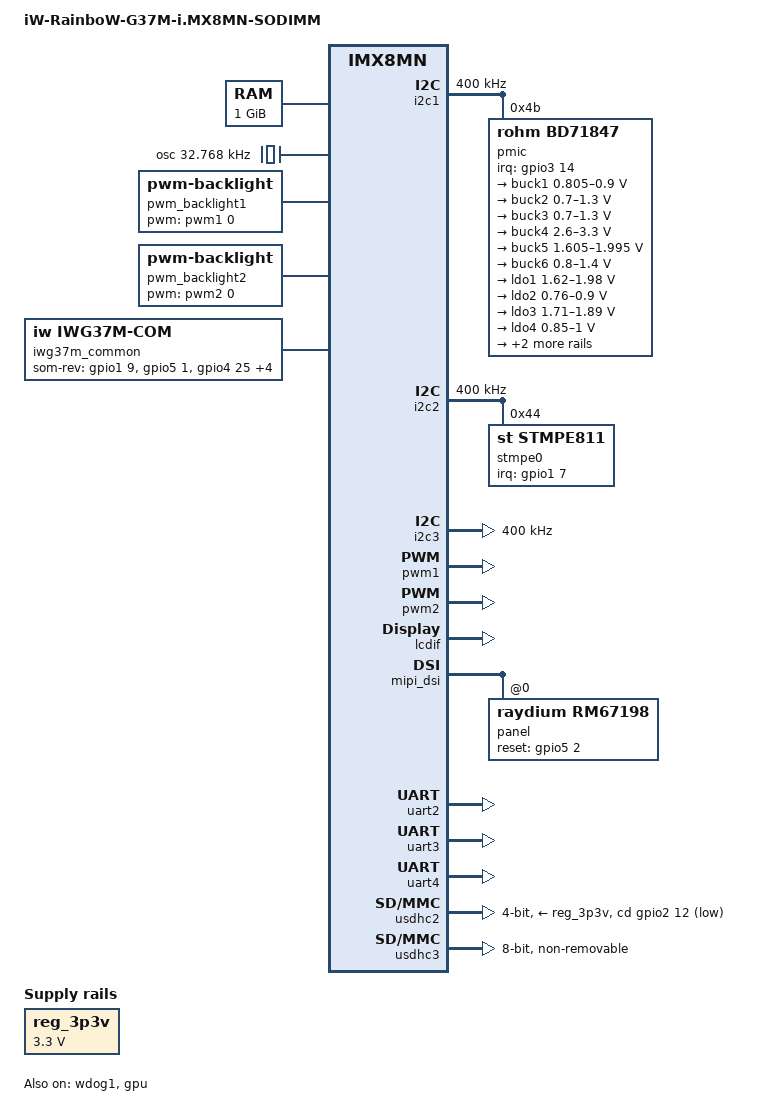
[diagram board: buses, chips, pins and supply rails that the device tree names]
/*
 * Copyright (C) 2020 iWave System Technologies Pvt Ltd.
 *
 * This program is free software; you can redistribute it and/or
 * modify it under the terms of the GNU General Public License
 * as published by the Free Software Foundation; either version 2
 * of the License, or (at your option) any later version.
 *
 * This program is distributed in the hope that it will be useful,
 * but WITHOUT ANY WARRANTY; without even the implied warranty of
 * MERCHANTABILITY or FITNESS FOR A PARTICULAR PURPOSE.  See the
 * GNU General Public License for more details.
 */

/dts-v1/;

#include "fsl-imx8mn.dtsi"

/ {
	model = "iW-RainboW-G37M-i.MX8MN-SODIMM";
	compatible = "fsl,imx8mn-iwg37m", "fsl,imx8mn";

	aliases { /* SD/MMC: eMMC/SD slot numbering fix */
                mmc0 = &usdhc3;
                mmc1 = &usdhc2;
        };

	chosen {
		bootargs = "console=ttymxc3,115200 earlycon=ec_imx6q,0x30a60000,115200";
		stdout-path = &uart4;
	};

	memory@40000000 { /* RAM: 1GB Memory support */
		device_type = "memory";
		reg = <0x0 0x40000000 0 0x40000000>;
	};

	reserved-memory { /* RAM: 1GB Memory support */
		#address-cells = <2>;
		#size-cells = <2>;
		ranges;

		/* global autoconfigured region for contiguous allocations */
		linux,cma {
			compatible = "shared-dma-pool";
			reusable;
			size = <0 0x14000000>;
			alloc-ranges = <0 0x40000000 0 0x30000000>;
			linux,cma-default;
		};

		rpmsg_reserved: rpmsg@0xb8000000 {
			no-map;
			reg = <0 0x78000000 0 0x400000>;
		};
	};

	/* external oscillator node */
	osc: oscillator {
		compatible = "fixed-clock";
		#clock-cells = <1>;
		clock-frequency  = <32768>;
		clock-output-names = "osc";
	};

	regulators {
		compatible = "simple-bus";
		#address-cells = <1>;
		#size-cells = <0>;

		reg_3p3v: 3p3v { /* Fixed Regulator: common 3.3V Fixed regulator */
			compatible = "regulator-fixed";
			regulator-name = "3P3V";
			regulator-min-microvolt = <3300000>;
			regulator-max-microvolt = <3300000>;
			regulator-always-on;
		};
	};

	pwm_backlight1: pwm-backlight1 { /* PWM: PWM1 backlight Control */
		compatible = "pwm-backlight";
		pinctrl-names = "default";
		pinctrl-0 = <&pinctrl_pwm1>;
		pwms = <&pwm1 0 100000 0>;

		brightness-levels = < 0 1 2 3 4 5 6 7 8 9
				10 11 12 13 14 15 16 17 18 19
				20 21 22 23 24 25 26 27 28 29
				30 31 32 33 34 35 36 37 38 39
				40 41 42 43 44 45 46 47 48 49
				50 51 52 53 54 55 56 57 58 59
				60 61 62 63 64 65 66 67 68 69
				70 71 72 73 74 75 76 77 78 79
				80 81 82 83 84 85 86 87 88 89
				90 91 92 93 94 95 96 97 98 99
				100>;
		default-brightness-level = <100>;
		status = "okay";
	};

	pwm_backlight2: pwm-backlight2 { /* PWM: PWM2 backlight Control */
		compatible = "pwm-backlight";
		pinctrl-names = "default";
		pinctrl-0 = <&pinctrl_pwm2>;
		pwms = <&pwm2 0 100000 0>;

		brightness-levels = < 0 1 2 3 4 5 6 7 8 9
				10 11 12 13 14 15 16 17 18 19
				20 21 22 23 24 25 26 27 28 29
				30 31 32 33 34 35 36 37 38 39
				40 41 42 43 44 45 46 47 48 49
				50 51 52 53 54 55 56 57 58 59
				60 61 62 63 64 65 66 67 68 69
				70 71 72 73 74 75 76 77 78 79
				80 81 82 83 84 85 86 87 88 89
				90 91 92 93 94 95 96 97 98 99
				100>;
		default-brightness-level = <100>;
		status = "okay";
	};

	iwg37m_common { /* SoC Board Setttings : Board Configuration GPIOs */
		compatible = "iw,iwg37m-com";
		pinctrl-names = "default";
		pinctrl-0 = <&pinctrl_board_cfg>;
		som-rev-gpios = <&gpio1 9 0 &gpio5 1 0 &gpio4 25 0 &gpio4 26 0
				&gpio4 27 0 &gpio2 19 0 &gpio2 20 0 >;
		status = "okay";
	};
};

&iomuxc {

	imx8mn-iwg37m {
		pinctrl_hog: hoggrp { /* iWave hog Pin Configuration */
			fsl,pins = <
				/* GPIO: Expansion Header GPIO IOMUX Pin Configuration */
				MX8MN_IOMUXC_GPIO1_IO06_GPIO1_IO6		0x41
				/* GPIO: GPIO Header GPIO IOMUX Pin Configuration */
				MX8MN_IOMUXC_SAI5_RXFS_GPIO3_IO19		0x41
				MX8MN_IOMUXC_SAI5_RXC_GPIO3_IO20		0x41
			>;
		};

		pinctrl_mipi_dsi_en: mipi_dsi_en { /* MIPI DSI: LCD IOMUX Pin Configuration */
			fsl,pins = <
				MX8MN_IOMUXC_SAI3_MCLK_GPIO5_IO2		0x16 /* MIPI LCD Reset GPIO */
			>;
		};

		pinctrl_pwm1: pwm1grp { /* PWM: PWM1 IOMUX Pin Configuration */
			fsl,pins = <
				MX8MN_IOMUXC_I2C4_SDA_PWM1_OUT			0x400001c3
			>;
		};

		pinctrl_pwm2: pwm2grp { /* PWM: PWM2 IOMUX Pin Configuration */
			fsl,pins = <
				MX8MN_IOMUXC_I2C4_SCL_PWM2_OUT			0x400001c3
			>;
		};

		pinctrl_flexspi0: flexspi0grp { /* QSPI : IOMUX Pin Configuration */
			fsl,pins = <
				MX8MN_IOMUXC_NAND_ALE_QSPI_A_SCLK 		0x1c4
				MX8MN_IOMUXC_NAND_CE0_B_QSPI_A_SS0_B 		0x84

				MX8MN_IOMUXC_NAND_DATA00_QSPI_A_DATA0 		0x84
				MX8MN_IOMUXC_NAND_DATA01_QSPI_A_DATA1 		0x84
				MX8MN_IOMUXC_NAND_DATA02_QSPI_A_DATA2 		0x84
			>;
		};

		pinctrl_ecspi1: ecspi1grp { /* ECSPI : ECSPI1 IOMUX Pin Configuration */
			fsl,pins = <
				MX8MN_IOMUXC_ECSPI1_SCLK_ECSPI1_SCLK		0x82
				MX8MN_IOMUXC_ECSPI1_MOSI_ECSPI1_MOSI		0x82
				MX8MN_IOMUXC_ECSPI1_MISO_ECSPI1_MISO		0x82
			>;
		};

		pinctrl_ecspi1_cs: ecspi1cs { /* ECSPI : ECSPI1 SS IOMUX Pin Configuration */
			fsl,pins = <
				MX8MN_IOMUXC_ECSPI1_SS0_GPIO5_IO9		0x40000
			>;
		};

		pinctrl_ecspi2: ecspi2grp { /* ECSPI : ECSPI2 IOMUX Pin Configuration */
			fsl,pins = <
				MX8MN_IOMUXC_ECSPI2_SCLK_ECSPI2_SCLK		0x82
				MX8MN_IOMUXC_ECSPI2_MOSI_ECSPI2_MOSI		0x82
				MX8MN_IOMUXC_ECSPI2_MISO_ECSPI2_MISO		0x82
			>;
		};

		pinctrl_ecspi2_cs: ecspi2cs { /* ECSPI : ECSPI2 SS IOMUX Pin Configuration */
			fsl,pins = <
				MX8MN_IOMUXC_ECSPI2_SS0_GPIO5_IO13		0x40000
			>;
		};

		pinctrl_ecspi3: ecspi3grp { /* ECSPI : ECSPI3 IOMUX Pin Configuration */
			fsl,pins = <
				MX8MN_IOMUXC_UART1_RXD_ECSPI3_SCLK		0x82
				MX8MN_IOMUXC_UART1_TXD_ECSPI3_MOSI		0x82
				MX8MN_IOMUXC_UART2_RXD_ECSPI3_MISO		0x82
			>;
		};

		pinctrl_ecspi3_cs: ecspi3cs { /* ECSPI : ECSPI2 SS IOMUX Pin Configuration */
			fsl,pins = <
				MX8MN_IOMUXC_UART2_TXD_GPIO5_IO25		0x40000
			>;
		};

		pinctrl_i2c1: i2c1grp { /* I2C1: IOMUX Pin Configuration */
			fsl,pins = <
				MX8MN_IOMUXC_I2C1_SCL_I2C1_SCL			0x400001c3
				MX8MN_IOMUXC_I2C1_SDA_I2C1_SDA			0x400001c3
			>;
		};

		pinctrl_i2c2: i2c2grp { /* I2C2: IOMUX Pin Configuration */
			fsl,pins = <
				MX8MN_IOMUXC_I2C2_SCL_I2C2_SCL			0x400001c3
				MX8MN_IOMUXC_I2C2_SDA_I2C2_SDA			0x400001c3
			>;
		};

		pinctrl_i2c3: i2c3grp { /* I2C3: IOMUX Pin Configuration */
			fsl,pins = <
				MX8MN_IOMUXC_I2C3_SCL_I2C3_SCL			0x400001c3
				MX8MN_IOMUXC_I2C3_SDA_I2C3_SDA			0x400001c3
			>;
		};

		pinctrl_stmpe: stmpeirq { /* STMPE: IOMUX Pin Configuration */
                        fsl,pins = <
				MX8MN_IOMUXC_GPIO1_IO07_GPIO1_IO7		0x41
                        >;
                };

		pinctrl_pmic: pmicirq { /* PMIC: IOMUX Pin Configuration */
			fsl,pins = <
				MX8MN_IOMUXC_NAND_DQS_GPIO3_IO14		0x41 /* PMIC Interrupt GPIO */
			>;
		};

		pinctrl_uart2: uart2grp { /* UART2: DATA UART: IOMUX Pin Configuration */
			fsl,pins = <
				MX8MN_IOMUXC_SAI3_TXC_UART2_DCE_TX		0x140
				MX8MN_IOMUXC_SAI3_TXFS_UART2_DCE_RX		0x140
				MX8MN_IOMUXC_SAI3_RXC_UART2_DCE_CTS_B		0x140
				MX8MN_IOMUXC_SAI3_RXD_UART2_DCE_RTS_B		0x140
			>;
		};

		pinctrl_uart3: uart3grp { /* UART3: M4 UART: IOMUX Pin Configuration */
			fsl,pins = <
				MX8MN_IOMUXC_UART3_TXD_UART3_DCE_TX		0x140
				MX8MN_IOMUXC_UART3_RXD_UART3_DCE_RX		0x140
			>;
		};

		pinctrl_uart4: uart4grp { /* UART4: Debug UART: IOMUX Pin Configuration */
			fsl,pins = <
				MX8MN_IOMUXC_UART4_RXD_UART4_DCE_RX		0x140
				MX8MN_IOMUXC_UART4_TXD_UART4_DCE_TX		0x140
			>;
		};

		pinctrl_usdhc2_gpio: usdhc2grpgpio { /* USDHC2: Carrier Micro SD: Card Detect GPIO IOMUX Pin Configuration */
			fsl,pins = <
				MX8MN_IOMUXC_SD2_CD_B_GPIO2_IO12        	0x41 /* SD2 Card Detect GPIO */
			>;
		};

		pinctrl_usdhc2: usdhc2grp { /* USDHC2: Carrier Micro SD: IOMUX Pin Configuration */
			fsl,pins = <
				MX8MN_IOMUXC_SD2_CLK_USDHC2_CLK			0x190
				MX8MN_IOMUXC_SD2_CMD_USDHC2_CMD			0x1d0
				MX8MN_IOMUXC_SD2_DATA0_USDHC2_DATA0		0x1d0
				MX8MN_IOMUXC_SD2_DATA1_USDHC2_DATA1		0x1d0
				MX8MN_IOMUXC_SD2_DATA2_USDHC2_DATA2		0x1d0
				MX8MN_IOMUXC_SD2_DATA3_USDHC2_DATA3		0x1d0
				MX8MN_IOMUXC_GPIO1_IO04_USDHC2_VSELECT		0x1d0
			>;
		};

		pinctrl_usdhc2_100mhz: usdhc2grp100mhz {
			fsl,pins = <
				MX8MN_IOMUXC_SD2_CLK_USDHC2_CLK			0x194
				MX8MN_IOMUXC_SD2_CMD_USDHC2_CMD			0x1d4
				MX8MN_IOMUXC_SD2_DATA0_USDHC2_DATA0		0x1d4
				MX8MN_IOMUXC_SD2_DATA1_USDHC2_DATA1		0x1d4
				MX8MN_IOMUXC_SD2_DATA2_USDHC2_DATA2		0x1d4
				MX8MN_IOMUXC_SD2_DATA3_USDHC2_DATA3		0x1d4
				MX8MN_IOMUXC_GPIO1_IO04_USDHC2_VSELECT		0x1d0
			>;
		};

		pinctrl_usdhc2_200mhz: usdhc2grp200mhz {
			fsl,pins = <
				MX8MN_IOMUXC_SD2_CLK_USDHC2_CLK			0x196
				MX8MN_IOMUXC_SD2_CMD_USDHC2_CMD			0x1d6
				MX8MN_IOMUXC_SD2_DATA0_USDHC2_DATA0		0x1d6
				MX8MN_IOMUXC_SD2_DATA1_USDHC2_DATA1		0x1d6
				MX8MN_IOMUXC_SD2_DATA2_USDHC2_DATA2		0x1d6
				MX8MN_IOMUXC_SD2_DATA3_USDHC2_DATA3		0x1d6
				MX8MN_IOMUXC_GPIO1_IO04_USDHC2_VSELECT		0x1d0
			>;
		};

		pinctrl_usdhc3: usdhc3grp { /* USDHC3: EMMC: IOMUX Pin Configuration*/
			fsl,pins = <
				MX8MN_IOMUXC_NAND_WE_B_USDHC3_CLK		0x190
				MX8MN_IOMUXC_NAND_WP_B_USDHC3_CMD		0x1d0
				MX8MN_IOMUXC_NAND_DATA04_USDHC3_DATA0		0x1d0
				MX8MN_IOMUXC_NAND_DATA05_USDHC3_DATA1		0x1d0
				MX8MN_IOMUXC_NAND_DATA06_USDHC3_DATA2		0x1d0
				MX8MN_IOMUXC_NAND_DATA07_USDHC3_DATA3		0x1d0
				MX8MN_IOMUXC_NAND_RE_B_USDHC3_DATA4		0x1d0
				MX8MN_IOMUXC_NAND_CE2_B_USDHC3_DATA5		0x1d0
				MX8MN_IOMUXC_NAND_CE3_B_USDHC3_DATA6		0x1d0
				MX8MN_IOMUXC_NAND_CLE_USDHC3_DATA7		0x1d0
				MX8MN_IOMUXC_NAND_CE1_B_USDHC3_STROBE 		0x190
			>;
		};

		pinctrl_usdhc3_100mhz: usdhc3grp100mhz {
			fsl,pins = <
				MX8MN_IOMUXC_NAND_WE_B_USDHC3_CLK		0x194
				MX8MN_IOMUXC_NAND_WP_B_USDHC3_CMD		0x1d4
				MX8MN_IOMUXC_NAND_DATA04_USDHC3_DATA0		0x1d4
				MX8MN_IOMUXC_NAND_DATA05_USDHC3_DATA1		0x1d4
				MX8MN_IOMUXC_NAND_DATA06_USDHC3_DATA2		0x1d4
				MX8MN_IOMUXC_NAND_DATA07_USDHC3_DATA3		0x1d4
				MX8MN_IOMUXC_NAND_RE_B_USDHC3_DATA4		0x1d4
				MX8MN_IOMUXC_NAND_CE2_B_USDHC3_DATA5		0x1d4
				MX8MN_IOMUXC_NAND_CE3_B_USDHC3_DATA6		0x1d4
				MX8MN_IOMUXC_NAND_CLE_USDHC3_DATA7		0x1d4
				MX8MN_IOMUXC_NAND_CE1_B_USDHC3_STROBE 		0x194
			>;
		};

		pinctrl_usdhc3_200mhz: usdhc3grp200mhz {
			fsl,pins = <
				MX8MN_IOMUXC_NAND_WE_B_USDHC3_CLK		0x196
				MX8MN_IOMUXC_NAND_WP_B_USDHC3_CMD		0x1d6
				MX8MN_IOMUXC_NAND_DATA04_USDHC3_DATA0		0x1d6
				MX8MN_IOMUXC_NAND_DATA05_USDHC3_DATA1		0x1d6
				MX8MN_IOMUXC_NAND_DATA06_USDHC3_DATA2		0x1d6
				MX8MN_IOMUXC_NAND_DATA07_USDHC3_DATA3		0x1d6
				MX8MN_IOMUXC_NAND_RE_B_USDHC3_DATA4		0x1d6
				MX8MN_IOMUXC_NAND_CE2_B_USDHC3_DATA5		0x1d6
				MX8MN_IOMUXC_NAND_CE3_B_USDHC3_DATA6		0x1d6
				MX8MN_IOMUXC_NAND_CLE_USDHC3_DATA7		0x1d6
				MX8MN_IOMUXC_NAND_CE1_B_USDHC3_STROBE 		0x196
			>;
		};

		pinctrl_board_cfg: brd_cfg { /* SoC Board Settings: IOMUX Pin Configuration */
			fsl,pins = <
				MX8MN_IOMUXC_GPIO1_IO09_GPIO1_IO9		0x1d0
				MX8MN_IOMUXC_SAI3_TXD_GPIO5_IO1			0x1d5
				MX8MN_IOMUXC_SAI2_TXC_GPIO4_IO25		0x1d5
				MX8MN_IOMUXC_SAI2_TXD0_GPIO4_IO26		0x1d5
				MX8MN_IOMUXC_SAI2_MCLK_GPIO4_IO27		0x1d5
				MX8MN_IOMUXC_SD2_RESET_B_GPIO2_IO19		0x1d5
				MX8MN_IOMUXC_SD2_WP_GPIO2_IO20			0x1d5
			>;
		};

		pinctrl_wdog: wdoggrp { /* WATCHDOG: IOMUX Pin Configuration */
			fsl,pins = <
				MX8MN_IOMUXC_GPIO1_IO02_WDOG1_WDOG_B		0xc6
			>;
		};
	};
};

&flexspi { /* QSPI: SPI */
	pinctrl-names = "default";
	pinctrl-0 = <&pinctrl_flexspi0>;
	status = "disabled";

	flash0: mt25qu256aba@0 {
		reg = <0>;
		#address-cells = <1>;
		#size-cells = <1>;
		compatible = "micron,mt25qu256aba";
		spi-max-frequency = <80000000>;
		spi-nor,ddr-quad-read-dummy = <6>;
	};
};

&ecspi1 { /* QSPI: ECSPI1 */
	#address-cells = <1>;
	#size-cells = <0>;
	fsl,spi-num-chipselects = <1>;
	pinctrl-names = "default";
	pinctrl-0 = <&pinctrl_ecspi1 &pinctrl_ecspi1_cs>;
	cs-gpios = <&gpio5 9 GPIO_ACTIVE_LOW>;
	status = "disabled";
};

&ecspi2 { /* QSPI: ECSPI2 */
	#address-cells = <1>;
	#size-cells = <0>;
	fsl,spi-num-chipselects = <1>;
	pinctrl-names = "default";
	pinctrl-0 = <&pinctrl_ecspi2 &pinctrl_ecspi2_cs>;
	cs-gpios = <&gpio5 13 GPIO_ACTIVE_LOW>;
	status = "disabled";
};

&ecspi3 { /* QSPI: ECSPI3 */
	#address-cells = <1>;
	#size-cells = <0>;
	fsl,spi-num-chipselects = <1>;
	pinctrl-names = "default";
	pinctrl-0 = <&pinctrl_ecspi3 &pinctrl_ecspi3_cs>;
	cs-gpios = <&gpio5 25 GPIO_ACTIVE_LOW>;
	status = "disabled";
};

&i2c1 { /* I2C: I2C1 Bus */
	clock-frequency = <400000>;
	pinctrl-names = "default";
	pinctrl-0 = <&pinctrl_i2c1>;
	status = "okay";
	
	pmic: pmic@4b { /* PMIC: PMIC BD71847MWV */
		compatible = "rohm,bd71847";
		reg = <0x4b>;
		pinctrl-names = "default";
		pinctrl-0 = <&pinctrl_pmic>;
		interrupt-parent = <&gpio3>;
		interrupts = <14 GPIO_ACTIVE_LOW>;
		interrupt-names = "irq";
		#clock-cells = <0>;
		clocks = <&osc 0>;
		clock-output-names = "bd71837-32k-out";
		rohm,reset-snvs-powered;
		/* <run,idle,susp> */
		rohm,pmic-buck1-dvs-voltage = <850000>, <850000>, <850000>;
		rohm,pmic-buck2-dvs-voltage = <1000000>, <900000>;

		regulators {
			#address-cells = <1>;
			#size-cells = <0>;

			buck1: BUCK1 {
				reg = <0>;
				regulator-name = "buck1";
				regulator-min-microvolt = <805000>;
				regulator-max-microvolt = <900000>;
				regulator-boot-on;
				regulator-always-on;
				regulator-ramp-delay = <1250>;
				rohm,dvs-run-voltage = <850000>;
				rohm,dvs-idle-voltage = <850000>;
				rohm,dvs-suspend-voltage = <850000>;
			};

			buck2: BUCK2 {
				reg = <1>;
				regulator-name = "buck2";
				regulator-min-microvolt = <700000>;
				regulator-max-microvolt = <1300000>;
				regulator-boot-on;
				regulator-always-on;
				regulator-ramp-delay = <1250>;
				rohm,dvs-run-voltage = <1000000>;
				rohm,dvs-idle-voltage = <900000>;
			};

			buck3: BUCK3 {
				reg = <2>;
				regulator-name = "buck3";
				regulator-min-microvolt = <700000>;
				regulator-max-microvolt = <1300000>;
				regulator-boot-on;
				regulator-always-on;
			};

			buck4: BUCK4 {
				reg = <3>;
				regulator-name = "buck4";
				regulator-min-microvolt = <2600000>;
				regulator-max-microvolt = <3300000>;
				regulator-boot-on;
				regulator-always-on;
			};

			buck5: BUCK5 {
				reg = <4>;
				regulator-name = "buck5";
				regulator-min-microvolt = <1605000>;
				regulator-max-microvolt = <1995000>;
				regulator-boot-on;
				regulator-always-on;
			};

			buck6: BUCK6 {
				reg = <5>;
				regulator-name = "buck6";
				regulator-min-microvolt = <800000>;
				regulator-max-microvolt = <1400000>;
				regulator-boot-on;
				regulator-always-on;
			};

			ldo1: LDO1 {
				reg = <6>;
				regulator-name = "ldo1";
				regulator-min-microvolt = <1620000>;
				regulator-max-microvolt = <1980000>;
				regulator-boot-on;
				regulator-always-on;
			};
			ldo2: LDO2 {
				regulator-name = "ldo2";
				regulator-min-microvolt = <760000>;
				regulator-max-microvolt = <900000>;
				regulator-boot-on;
				regulator-always-on;
			};
			ldo3: LDO3 {
				regulator-name = "ldo3";
				regulator-min-microvolt = <1710000>;
				regulator-max-microvolt = <1890000>;
				regulator-always-on;
			};
			ldo4: LDO4 {
				regulator-name = "ldo4";
				regulator-min-microvolt = <850000>;
				regulator-max-microvolt = <1000000>;
				regulator-always-on;
			};
			ldo5: LDO5 {
				regulator-name = "ldo5";
				regulator-min-microvolt = <1800000>;
				regulator-max-microvolt = <3300000>;
				regulator-always-on;
			};
			ldo6: LDO6 {
				regulator-name = "ldo6";
				regulator-min-microvolt = <1140000>;
				regulator-max-microvolt = <1260000>;
				regulator-always-on;
			};
		};
	};
};

&i2c2 { /* I2C: I2C2 Bus */
	clock-frequency = <400000>;
	pinctrl-names = "default";
	pinctrl-0 = <&pinctrl_i2c2>;
	status = "okay";

	stmpe0: stmpe811@44 { /* STMPE811: Carrier Board GPIO Expander */
                compatible = "st,stmpe811";
		#address-cells = <1>;
                #size-cells = <0>;
                reg = <0x44>;
                pinctrl-names = "default";
                pinctrl-0 = <&pinctrl_stmpe>;
		irq-gpio = <&gpio1 7 IRQ_TYPE_EDGE_RISING>;
	
		stmpe_gpio0: stmpe_gpio {
			compatible = "st,stmpe-gpio";
                        #gpio-cells = <2>;
			gpio-controller;
		};
        };
};

&i2c3 { /* I2C: I2C3 Bus */
	clock-frequency = <400000>;
	pinctrl-names = "default";
	pinctrl-0 = <&pinctrl_i2c3>;
	status = "okay";
};

&pwm1 { /* PWM: PWM1 Control */
        status = "okay";
};

&pwm2 { /* PWM: PWM2 Control */
        status = "okay";
};

&lcdif {
	status = "okay";
};

&mipi_dsi { /* MIPI DSI: 1080p MIPI Display */
	status = "okay";

	panel@0 {
		compatible = "raydium,rm67198";
		reg = <0>;
		pinctrl-0 = <&pinctrl_mipi_dsi_en>;
		reset-gpio = <&gpio5 2 GPIO_ACTIVE_HIGH>;
		dsi-lanes = <4>;
		video-mode = <1>;/* 0: burst mode
				  * 1: non-burst mode with sync event
				  * 2: non-burst mode with sync pulse
				  */
		panel-width-mm = <68>;
		panel-height-mm = <122>;
		status = "okay";
	};
};

&uart2 { /* UART2: Data UART */
	pinctrl-names = "default";
	pinctrl-0 = <&pinctrl_uart2>;
	assigned-clocks = <&clk IMX8MN_CLK_UART2>;
	assigned-clock-parents = <&clk IMX8MN_SYS_PLL1_80M>;
	fsl,uart-has-rtscts;
	status = "okay";
};

&uart3 { /* UART3: M4 UART */
	pinctrl-names = "default";
	pinctrl-0 = <&pinctrl_uart3>;
	status = "okay";
};

&uart4 { /* UART4: Debug UART */
	pinctrl-names = "default";
	pinctrl-0 = <&pinctrl_uart4>;
	status = "okay";
};

&usdhc2 {  /* USDHC2: Carrier Micro SD */
	pinctrl-names = "default", "state_100mhz", "state_200mhz";
	pinctrl-0 = <&pinctrl_usdhc2>, <&pinctrl_usdhc2_gpio>;
	pinctrl-1 = <&pinctrl_usdhc2_100mhz>, <&pinctrl_usdhc2_gpio>;
	pinctrl-2 = <&pinctrl_usdhc2_200mhz>, <&pinctrl_usdhc2_gpio>;
	vmmc-supply = <&reg_3p3v>;
	no-1-8-v;
	cd-gpios = <&gpio2 12 GPIO_ACTIVE_LOW>;
	bus-width = <4>;
	status = "okay";
};

&usdhc3 {  /*USDHC3: EMMC */
	pinctrl-names = "default", "state_100mhz", "state_200mhz";
	pinctrl-0 = <&pinctrl_usdhc3>;
	pinctrl-1 = <&pinctrl_usdhc3_100mhz>;
	pinctrl-2 = <&pinctrl_usdhc3_200mhz>;
	bus-width = <8>;
	non-removable;
	status = "okay";
};

&wdog1 { /* Watchdog */
	pinctrl-names = "default";
	pinctrl-0 = <&pinctrl_wdog>;
	fsl,ext-reset-output;
	status = "okay";
};

&A53_0 { /* A53 CPU Frequency OP */
	operating-points = <
		/* kHz    uV */
		1500000 1000000
		1400000 950000
		1200000 850000
	>;
	arm-supply = <&buck2>;
};

&gpu { /* GPU */
	reg = <0x0 0x38000000 0 0x40000>, <0x0 0x40000000 0x0 0x40000000>, <0x0 0x0 0x0 0x4000000>;
	status = "okay";
};
